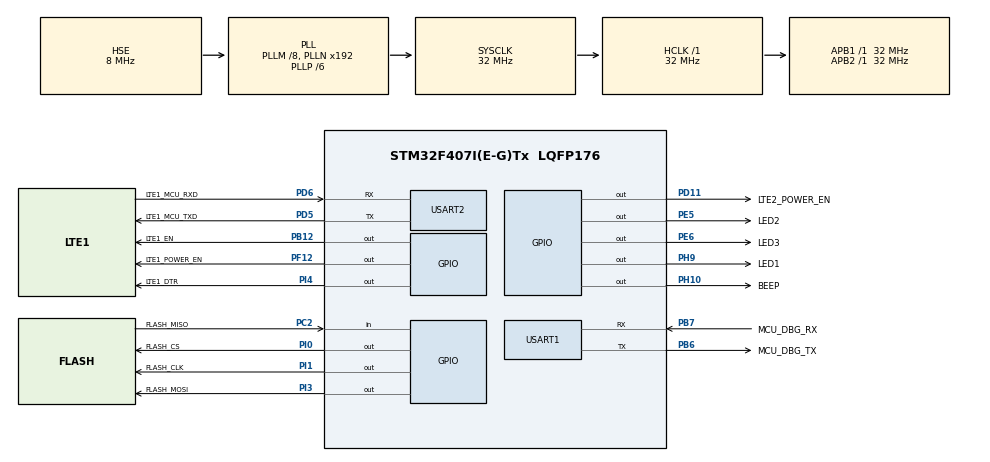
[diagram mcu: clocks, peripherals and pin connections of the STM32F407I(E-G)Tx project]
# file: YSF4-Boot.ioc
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IWDG.Prescaler=IWDG_PRESCALER_64
Mcu.Family=STM32F4
Mcu.Name=STM32F407I(E-G)Tx
Mcu.Package=LQFP176
NVIC.PriorityGroup=NVIC_PRIORITYGROUP_4
NVIC.RCC_IRQn=true\:0\:0\:false\:false\:true\:true\:false
NVIC.TIM6_DAC_IRQn=true\:0\:0\:false\:false\:true\:true\:true
NVIC.USART1_IRQn=true\:0\:0\:false\:false\:true\:true\:true
NVIC.USART2_IRQn=true\:0\:0\:false\:false\:true\:true\:true
PA13.Mode=Serial_Wire
PA13.Signal=SYS_JTMS-SWDIO
PA14.Mode=Serial_Wire
PA14.Signal=SYS_JTCK-SWCLK
PB12.GPIO_Label=LTE1_EN
PB12.Signal=GPIO_Output
PB6.GPIO_Label=MCU_DBG_TX
PB6.Mode=Asynchronous
PB6.Signal=USART1_TX
PB7.GPIO_Label=MCU_DBG_RX
PB7.Mode=Asynchronous
PB7.Signal=USART1_RX
PC14-OSC32_IN.Mode=LSE-External-Oscillator
PC14-OSC32_IN.Signal=RCC_OSC32_IN
PC15-OSC32_OUT.Mode=LSE-External-Oscillator
PC15-OSC32_OUT.Signal=RCC_OSC32_OUT
PC2.GPIO_Label=FLASH_MISO
PC2.Signal=GPIO_Input
PD11.GPIO_Label=LTE2_POWER_EN
PD11.PinState=GPIO_PIN_SET
PD11.Signal=GPIO_Output
PD5.GPIO_Label=LTE1_MCU_TXD
PD5.Mode=Asynchronous
PD5.Signal=USART2_TX
PD6.GPIO_Label=LTE1_MCU_RXD
PD6.Mode=Asynchronous
PD6.Signal=USART2_RX
PE5.GPIO_Label=LED2
PE5.Signal=GPIO_Output
PE6.GPIO_Label=LED3
PE6.Signal=GPIO_Output
PF12.GPIO_Label=LTE1_POWER_EN
PF12.PinState=GPIO_PIN_SET
PF12.Signal=GPIO_Output
PH0-OSC_IN.Mode=HSE-External-Oscillator
PH0-OSC_IN.Signal=RCC_OSC_IN
PH1-OSC_OUT.Mode=HSE-External-Oscillator
PH1-OSC_OUT.Signal=RCC_OSC_OUT
PH10.GPIO_Label=BEEP
PH10.Signal=GPIO_Output
PH9.GPIO_Label=LED1
PH9.Signal=GPIO_Output
PI0.GPIO_Label=FLASH_CS
PI0.Signal=GPIO_Output
PI1.GPIO_Label=FLASH_CLK
PI1.Signal=GPIO_Output
PI3.GPIO_Label=FLASH_MOSI
PI3.Signal=GPIO_Output
PI4.GPIO_Label=LTE1_DTR
PI4.PinState=GPIO_PIN_SET
PI4.Signal=GPIO_Output
ProjectManager.HeapSize=0x200
ProjectManager.StackSize=0x400
ProjectManager.TargetToolchain=EWARM V8.32
RCC.48MHZClocksFreq_Value=48000000
RCC.AHBFreq_Value=32000000
RCC.APB1Freq_Value=32000000
RCC.APB1TimFreq_Value=32000000
RCC.APB2Freq_Value=32000000
RCC.APB2TimFreq_Value=32000000
RCC.CortexFreq_Value=32000000
RCC.HCLKFreq_Value=32000000
RCC.HSE_VALUE=8000000
RCC.HSI_VALUE=16000000
RCC.PLLM=8
RCC.PLLP=RCC_PLLP_DIV6
RCC.PLLSourceVirtual=RCC_PLLSOURCE_HSE
RCC.SYSCLKFreq_VALUE=32000000
RCC.SYSCLKSource=RCC_SYSCLKSOURCE_PLLCLK
RCC.VCOOutputFreq_Value=192000000
TIM6.Period=1000-1
TIM6.Prescaler=3200-1
USART1.VirtualMode=VM_ASYNC
USART2.VirtualMode=VM_ASYNC
VP_IWDG_VS_IWDG.Mode=IWDG_Activate
VP_TIM6_VS_ClockSourceINT.Mode=Enable_Timer
board=custom

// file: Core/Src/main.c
/* USER CODE BEGIN Header */
/**
  ******************************************************************************
  * @file           : main.c
  * @brief          : Main program body
  ******************************************************************************
  * @attention
  *
  * <h2><center>&copy; Copyright (c) 2024 STMicroelectronics.
  * All rights reserved.</center></h2>
  *
  * This software component is licensed by ST under BSD 3-Clause license,
  * the "License"; You may not use this file except in compliance with the
  * License. You may obtain a copy of the License at:
  *                        opensource.org/licenses/BSD-3-Clause
  *
  ******************************************************************************
  */
/* USER CODE END Header */
#include "main.h"
#include "iwdg.h"
#include "tim.h"
#include "usart.h"
#include "gpio.h"

/* USER CODE BEGIN Includes */
#include <stdio.h>
#include "uart_dev.h"
#include "common.h"
#include "w25q256.h"
#include "DeviceLte.h"
#include "DeviceSystime.h"
#include "DeviceCfg.h"
//#include "DeviceBattery.h"
#include "DeepSensing.h"
/* USER CODE END Includes */

void SystemClock_Config(void);

/* USER CODE BEGIN 0 */
static void Show_Version(void)
{
    char output_file[50] = "";
    sprintf(output_file, "DS_%s_APP_Sv%s.%s.%s_%s_%s.bin", DS_PRODUCT_MODULE, DS_SOFT_MAINVERSION,
            DS_SOFT_SUBVERSION, DS_SOFT_EDITEVERSION, DS_SOFT_REBUILD_TIME, DS_SOFT_REBUILD_FLAG);
    log_printf("\n");
    log_printf("***************************************************\n");
    log_printf("*                  YS-F4Pro-BOOT                  *\n");
    log_printf("***************************************************\n");
    log_printf("\n 2023 - 2048 Copyright lqc\n");
    log_printf(" DXFF Software Version : V %s.%s.%s\n",DS_SOFT_MAINVERSION, DS_SOFT_SUBVERSION, DS_SOFT_EDITEVERSION);
    log_printf(" DXFF Hardware Version : V %s.%s.%s\n",DS_HARDWARE_MAINVERSION, DS_HARDWARE_SUBVERSION, DS_HARDWARE_EDITEVERSION);
    log_printf(" Project build : %s\n", __DATE__);
    log_printf(" Output File: %s\n", output_file);
    log_printf("***************************************************\n");
}
FINSH_FUNCTION_EXPORT(Show_Version, show version information);
MSH_CMD_EXPORT(Show_Version, show version information);
/* USER CODE END 0 */

int main(void)
{
  /* USER CODE BEGIN 1 */
#if 0
  /* USER CODE END 1 */

  /* MCU Configuration--------------------------------------------------------*/

  /* Reset of all peripherals, Initializes the Flash interface and the Systick. */
  HAL_Init();

  /* Configure the system clock */
  SystemClock_Config();

  /* Initialize all configured peripherals */
  MX_GPIO_Init();
  MX_USART1_UART_Init();
  MX_USART2_UART_Init();
  MX_IWDG_Init();
  MX_TIM6_Init();
  /* USER CODE BEGIN 2 */
#endif
  /* USER CODE END 2 */

  /* Infinite loop */
  /* USER CODE BEGIN WHILE */
  MX_GPIO_Init();
  MX_IWDG_Init();
  MX_TIM6_Init();
  Flash_GPIO_Init();
  init_console_uart();
  Show_Version();
  InitDeviceCfgModule();
  InitBroadcastServiceModule();
  mdelay(1000);
  InitDeviceSystimeModule();
  InitDeviceLteModule();
  InitBussinessDSModule();

  while (1)
  {
    mdelay(1000);
    HAL_IWDG_Refresh(&hiwdg);
    /* USER CODE END WHILE */

  }
}

void SystemClock_Config(void)
{
  RCC_OscInitTypeDef RCC_OscInitStruct = {0};
  RCC_ClkInitTypeDef RCC_ClkInitStruct = {0};

  /** Configure the main internal regulator output voltage
  */
  __HAL_RCC_PWR_CLK_ENABLE();
  __HAL_PWR_VOLTAGESCALING_CONFIG(PWR_REGULATOR_VOLTAGE_SCALE1);
  /** Initializes the RCC Oscillators according to the specified parameters
  * in the RCC_OscInitTypeDef structure.
  */
  RCC_OscInitStruct.OscillatorType = RCC_OSCILLATORTYPE_LSI|RCC_OSCILLATORTYPE_HSE;
  RCC_OscInitStruct.HSEState = RCC_HSE_ON;
  RCC_OscInitStruct.LSIState = RCC_LSI_ON;
  RCC_OscInitStruct.PLL.PLLState = RCC_PLL_ON;
  RCC_OscInitStruct.PLL.PLLSource = RCC_PLLSOURCE_HSE;
  RCC_OscInitStruct.PLL.PLLM = 8;
  RCC_OscInitStruct.PLL.PLLN = 192;
  RCC_OscInitStruct.PLL.PLLP = RCC_PLLP_DIV6;
  RCC_OscInitStruct.PLL.PLLQ = 4;
  if (HAL_RCC_OscConfig(&RCC_OscInitStruct) != HAL_OK)
  {
    Error_Handler();
  }
  /** Initializes the CPU, AHB and APB buses clocks
  */
  RCC_ClkInitStruct.ClockType = RCC_CLOCKTYPE_HCLK|RCC_CLOCKTYPE_SYSCLK
                              |RCC_CLOCKTYPE_PCLK1|RCC_CLOCKTYPE_PCLK2;
  RCC_ClkInitStruct.SYSCLKSource = RCC_SYSCLKSOURCE_PLLCLK;
  RCC_ClkInitStruct.AHBCLKDivider = RCC_SYSCLK_DIV1;
  RCC_ClkInitStruct.APB1CLKDivider = RCC_HCLK_DIV1;
  RCC_ClkInitStruct.APB2CLKDivider = RCC_HCLK_DIV1;

  if (HAL_RCC_ClockConfig(&RCC_ClkInitStruct, FLASH_LATENCY_1) != HAL_OK)
  {
    Error_Handler();
  }
}

void Error_Handler(void)
{
  __disable_irq();
  while (1)
  {
  }
}

/************************ (C) COPYRIGHT STMicroelectronics *****END OF FILE****/
